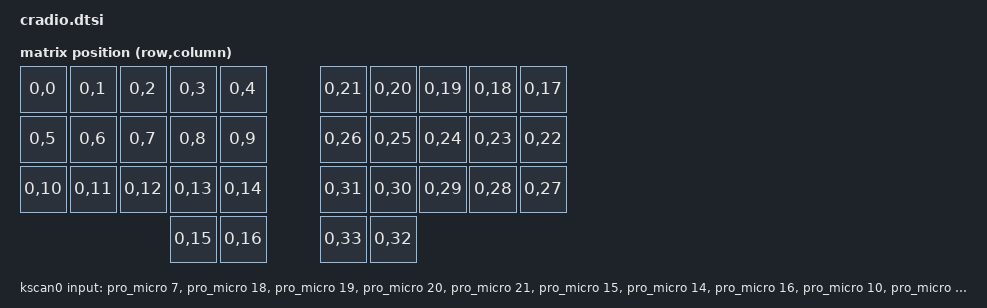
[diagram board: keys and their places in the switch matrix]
/*
 * Copyright (c) 2020 The ZMK Contributors
 *
 * SPDX-License-Identifier: MIT
 */

#include <dt-bindings/zmk/matrix_transform.h>
CONFIG_ZMK_MOUSE=y
CONFIG_ZMK_TRACKBALL_PIM477=y
/ {

	chosen {
		zmk,kscan = &kscan0;
		zmk,matrix_transform = &default_transform;
	};

	default_transform: keymap_transform_0 {
		compatible = "zmk,matrix-transform";
		columns = <34>;
		rows = <1>;
		map = <
		RC(0,0)  RC(0,1)  RC(0,2)  RC(0,3)  RC(0,4)    RC(0,21) RC(0,20) RC(0,19) RC(0,18) RC(0,17)
		RC(0,5)  RC(0,6)  RC(0,7)  RC(0,8)  RC(0,9)    RC(0,26) RC(0,25) RC(0,24) RC(0,23) RC(0,22)
		RC(0,10) RC(0,11) RC(0,12) RC(0,13) RC(0,14)   RC(0,31) RC(0,30) RC(0,29) RC(0,28) RC(0,27)
		                           RC(0,15) RC(0,16)   RC(0,33) RC(0,32)
		>;
	};

	kscan0: kscan {
		compatible = "zmk,kscan-gpio-direct";
		label = "KSCAN";
		input-gpios
		= <&pro_micro  7 (GPIO_ACTIVE_LOW | GPIO_PULL_UP)>
		, <&pro_micro 18 (GPIO_ACTIVE_LOW | GPIO_PULL_UP)>
		, <&pro_micro 19 (GPIO_ACTIVE_LOW | GPIO_PULL_UP)>
		, <&pro_micro 20 (GPIO_ACTIVE_LOW | GPIO_PULL_UP)>
		, <&pro_micro 21 (GPIO_ACTIVE_LOW | GPIO_PULL_UP)>
		, <&pro_micro 15 (GPIO_ACTIVE_LOW | GPIO_PULL_UP)>
		, <&pro_micro 14 (GPIO_ACTIVE_LOW | GPIO_PULL_UP)>
		, <&pro_micro 16 (GPIO_ACTIVE_LOW | GPIO_PULL_UP)>
		, <&pro_micro 10 (GPIO_ACTIVE_LOW | GPIO_PULL_UP)>
		, <&pro_micro  1 (GPIO_ACTIVE_LOW | GPIO_PULL_UP)>
		, <&pro_micro  2 (GPIO_ACTIVE_LOW | GPIO_PULL_UP)>
		, <&pro_micro  3 (GPIO_ACTIVE_LOW | GPIO_PULL_UP)>
		, <&pro_micro  4 (GPIO_ACTIVE_LOW | GPIO_PULL_UP)>
		, <&pro_micro  5 (GPIO_ACTIVE_LOW | GPIO_PULL_UP)>
		, <&pro_micro  6 (GPIO_ACTIVE_LOW | GPIO_PULL_UP)>
		, <&pro_micro  8 (GPIO_ACTIVE_LOW | GPIO_PULL_UP)>
		, <&pro_micro  9 (GPIO_ACTIVE_LOW | GPIO_PULL_UP)>
		;
	};

};


#include <dt-bindings/zmk/trackball_pim447.h> // for PIM447_MOVE and PIM447_SCROLL constants.

&pro_micro_i2c {
	status = "okay";

	trackball_pim447@a {
		compatible = "pimoroni,trackball_pim447";
		reg = <0xa>;
		label = "TRACKBALL_PIM447";
		
		//move-factor = <2>;      // Increase pointer velocity (default: 1)
		//invert-move-x;          // Invert pointer X axis (left is right, and vice versa)
		//invert-move-y;          // Invert pointer Y axis (up is down, and vice versa)
		//button = <1>;           // Send right-click when pressing the ball (default: 0, ie. left-click)
		//swap-axes;              // Swap X and Y axes (horizontal is vertical, and vice versa)
		//scroll-divisor = <1>;   // Increase wheel velocity (default: 2)
		//invert-scroll-x;        // Invert wheel X axis (left is right, and vice versa)
		//invert-scroll-y;        // Invert wheel Y axis (up is down, and vice versa)
		//mode = <PIM447_SCROLL>; // Act as mouse wheels at startup (default: PIM447_MOVE for a pointer)
		//mode = <PIM447_MOVE>; // Act as mouse at startup (default: PIM447_MOVE for a pointer)
	};
};
